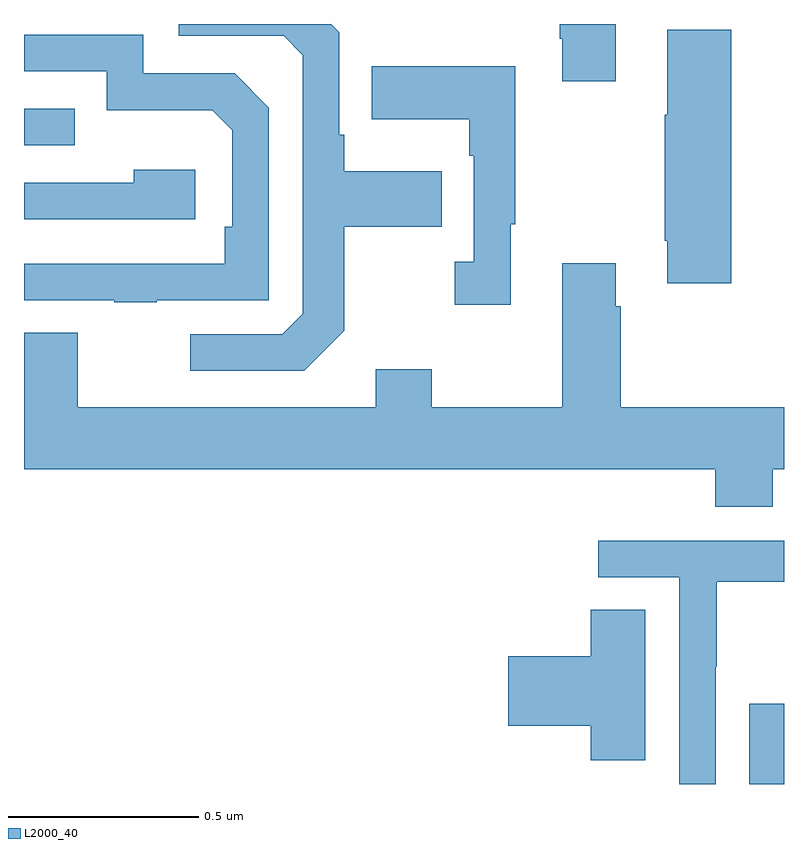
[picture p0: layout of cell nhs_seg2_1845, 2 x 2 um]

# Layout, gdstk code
import gdstk
lib = gdstk.Library(unit=1e-6, precision=1e-09)
def R(c, l, rs):  # rectangles x0, y0, x1, y1
    for r in rs: c.add(gdstk.rectangle(r[:2], r[2:], *l))
def P(c, l, *ps):  # polygons
    for p in ps: c.add(gdstk.Polygon(p, *l))
L2000_40 = (2000, 40)

nhs_seg2_1845 = lib.new_cell('nhs_seg2_1845')
R(nhs_seg2_1845, L2000_40, [(134.909,654.8,135,655.011), (133,656.481,133.133,656.577)])
P(nhs_seg2_1845, L2000_40, [(134.557,656.8),(134.41,656.8),(134.41,656.761),(134.417,656.761),(134.417,656.649),(134.557,656.649)],
  [(133.843,655.993),(133.843,656.266),(134.099,656.266),(134.099,656.413),(133.843,656.413),(133.843,656.509),(133.83,656.509),(133.83,656.778),(133.808,656.8),(133.407,656.8),(133.407,656.769),(133.683,656.769),(133.734,656.718),(133.734,656.037),(133.68,655.983),(133.437,655.983),(133.437,655.887),(133.737,655.887)],
  [(134.861,656.785),(134.693,656.785),(134.693,656.561),(134.686,656.561),(134.686,656.23),(134.693,656.23),(134.693,656.118),(134.861,656.118)],
  [(133.349,656.073),(133.644,656.073),(133.644,656.58),(133.554,656.67),(133.314,656.67),(133.314,656.772),(133,656.772),(133,656.676),(133.218,656.676),(133.218,656.573),(133.495,656.573),(133.548,656.52),(133.548,656.266),(133.528,656.266),(133.528,656.169),(133,656.169),(133,656.073),(133.237,656.073),(133.237,656.068),(133.349,656.068)],
  [(134.281,656.273),(134.293,656.273),(134.293,656.689),(133.915,656.689),(133.915,656.549),(134.172,656.549),(134.172,656.453),(134.184,656.453),(134.184,656.174),(134.133,656.174),(134.133,656.061),(134.281,656.061)],
  [(133.45,656.416),(133.289,656.416),(133.289,656.382),(133,656.382),(133,656.286),(133.45,656.286)],
  [(134.971,655.628),(135,655.628),(135,655.792),(134.57,655.792),(134.57,656.057),(134.557,656.057),(134.557,656.17),(134.417,656.17),(134.417,655.792),(134.073,655.792),(134.073,655.891),(133.925,655.891),(133.925,655.792),(133.141,655.792),(133.141,655.987),(133.001,655.987),(133.001,655.792),(133,655.792),(133,655.628),(134.819,655.628),(134.819,655.529),(134.971,655.529)],
  [(134.82,655.108),(134.823,655.108),(134.823,655.332),(135,655.332),(135,655.44),(134.511,655.44),(134.511,655.344),(134.724,655.344),(134.724,654.8),(134.82,654.8)],
  [(134.635,655.259),(134.492,655.259),(134.492,655.136),(134.274,655.136),(134.274,654.953),(134.492,654.953),(134.492,654.862),(134.635,654.862)])

lib.write_gds('nhs_seg2_1845.gds')
